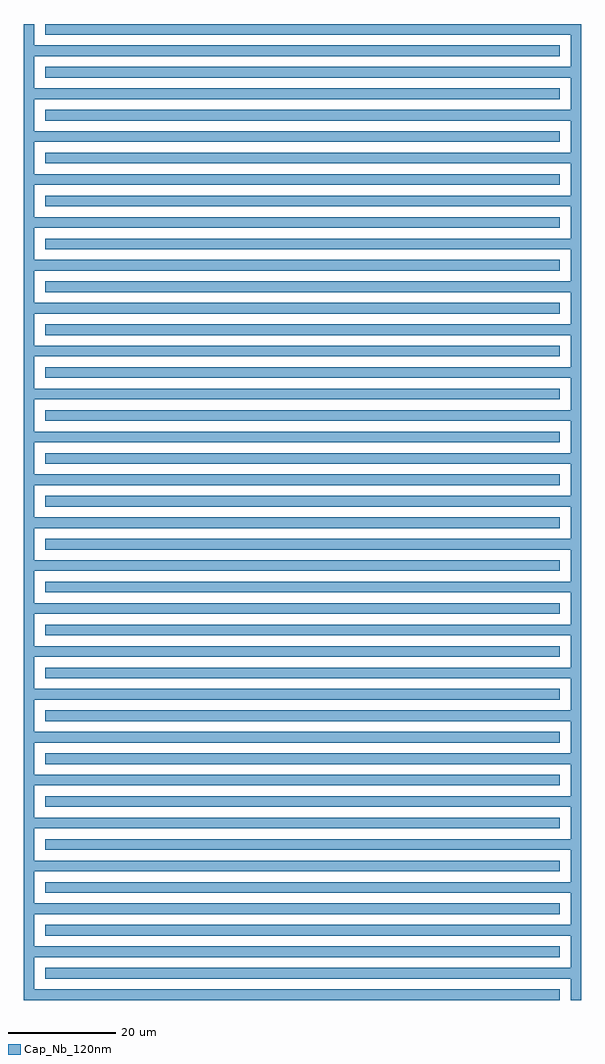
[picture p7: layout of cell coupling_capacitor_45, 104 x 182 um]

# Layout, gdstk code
import gdstk
lib = gdstk.Library(unit=1e-6, precision=1e-09)
def R(c, l, rs):  # rectangles x0, y0, x1, y1
    for r in rs: c.add(gdstk.rectangle(r[:2], r[2:], *l))
def A(c, l, x, y, w, h, nx, ny, dx, dy):  # array of equal rectangles
    R(c, l, [(x+i*dx, y+j*dy, x+i*dx+w, y+j*dy+h) for i in range(nx) for j in range(ny)])
Cap_Nb_120nm = (6, 0)

coupling_capacitor_45 = lib.new_cell('coupling_capacitor_45')
A(coupling_capacitor_45, Cap_Nb_120nm, -50, -91, 98, 2, 1, 23, 0, 8)
A(coupling_capacitor_45, Cap_Nb_120nm, -48, -87, 98, 2, 1, 23, 0, 8)
R(coupling_capacitor_45, Cap_Nb_120nm, [(-52,-91,-50,91), (50,-91,52,91)])

lib.write_gds('coupling_capacitor_45.gds')
